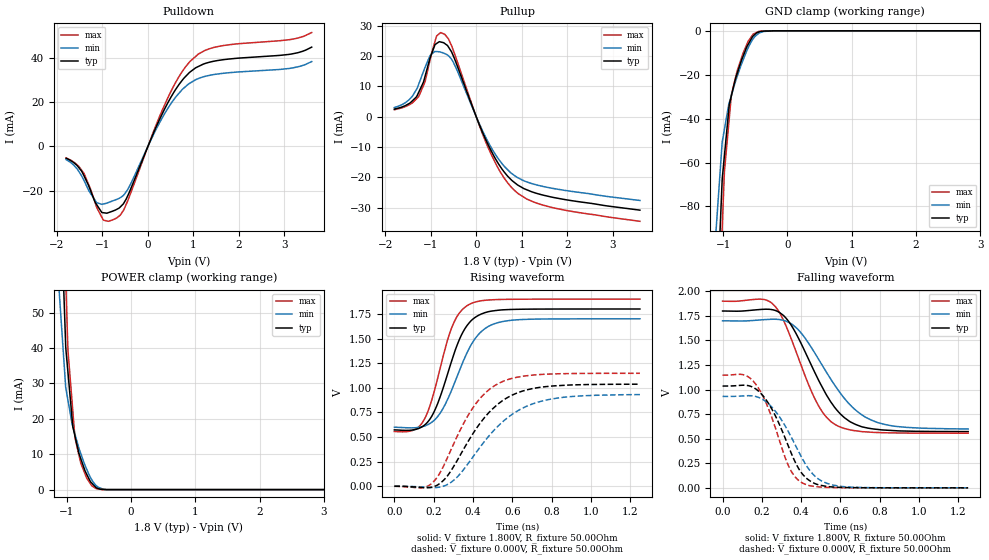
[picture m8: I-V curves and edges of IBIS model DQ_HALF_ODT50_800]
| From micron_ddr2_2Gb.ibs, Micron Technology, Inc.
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|   MODEL DQ_HALF_ODT50_800 (Half-Strength IO Driver with 50 Ohm ODT Submodel)
[Model]   DQ_HALF_ODT50_800
Model_type   I/O
Vinl = 700.000mV
Vinh = 1.100V
Vmeas = 900.000mV
Vref = 900.000mV
Cref = 0.0pF
Rref = 25.000Ohm
|   typ   min   max
C_comp   3.165pF   2.9393pF   3.338pF
| Note: C_comp increases when the ODT circuit is enabled.
[Model Spec]
| Measurement voltage corners
Vmeas   0.900V   0.850V   0.950V
| Input threshold voltage corners
Vinl   0.700V   0.650V   0.750V
Vinh   1.100V   1.050V   1.150V
| Timing spec test load voltage corners
Vref   0.900V   0.850V   0.950V
[Receiver Thresholds]
Vth   =  0.900V
Vth_min  =  0.882V
Vth_max  =  0.918V
Vinh_ac  =  0.200V
Vinh_dc  =  0.125V
Vinl_ac  = -0.200V
Vinl_dc  = -0.125V
Tslew_ac =  5.000ns |Not specified, so set to high value
Threshold_sensitivity = 0.50
Reference_supply Pullup_ref
[Voltage Range]   1.800V   1.700V   1.900V
[Pullup Reference]   1.800V   1.700V   1.900V
| Junction Temperature (Ambient temp is 25C typ, 85C min, 0C max)
[Temperature Range]   40.0   100.0   0.0
[Add Submodel]
| Submodel Name   Mode
50ohm_ODT_800   Non-Driving
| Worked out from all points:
|   slope of the pulldown table from 0 to 0.27 V, typ, clamps not added: 21.1 ohm
|   slope of the pullup table from 0 to 0.27 V, typ, clamps not added: 28.4 ohm
|   GND clamp passes 1 mA (typ) near -0.48 V on its own axis
|   POWER clamp passes 1 mA (typ) near -0.57 V on its own axis
|   falling waveform, V_fixture 1.800V, R_fixture 50.00Ohm: 20-80 % time 193ps typ, 227ps min, 165ps max; typ from 1.8 V to 0.573 V
|   rising waveform, V_fixture 1.800V, R_fixture 50.00Ohm: 20-80 % time 130ps typ, 149ps min, 114ps max; typ from 0.573 V to 1.8 V
|   rising waveform, V_fixture 0.000V, R_fixture 50.00Ohm: 20-80 % time 221ps typ, 251ps min, 192ps max; typ from 0 V to 1.04 V
|   falling waveform, V_fixture 0.000V, R_fixture 50.00Ohm: 20-80 % time 141ps typ, 159ps min, 125ps max; typ from 1.04 V to 0 V
[Pulldown]
|   Voltage   I(typ)   I(min)   I(max)
-1.8V     -5.365mA   -6.001mA   -5.258mA
-1.555V   -8.742mA   -10.27mA   -8.415mA
-1.41V    -13.18mA   -15.31mA   -12.13mA
-1.13V    -26.28mA   -25.42mA   -27.41mA
-980mV    -30.01mA   -26.05mA   -33.37mA
-690mV    -28.51mA   -23.99mA   -32.42mA
-440mV    -22.13mA   -19.32mA   -24.39mA
450mV     20.18mA    17.56mA    22.5mA
920mV     33.5mA     28.53mA    38.29mA
1.49V     38.63mA    32.57mA    44.89mA
3.14V     41.67mA    35.29mA    48.29mA
3.6V      44.83mA    38.29mA    51.41mA
[GND Clamp]
|   Voltage   I(typ)   I(min)   I(max)
-1.8V     -803.9mA   -711.7mA   -858.5mA
-1.12V    -141.5mA   -94.99mA   -168.1mA
-1.02V    -71.23mA   -52.78mA   -93.49mA
-1.015V   -67.72mA   -50.76mA   -89.76mA
-1.01V    -66.04mA   -49.91mA   -86.03mA
-980mV    -56.79mA   -44.83mA   -64.11mA
-905mV    -33.64mA   -32.75mA   -39.89mA
-870mV    -29.34mA   -29.24mA   -28.84mA
-690mV    -11.56mA   -13.3mA    -10.14mA
-530mV    -2.254mA   -3.479mA   -1.45mA
-270mV    -68.69uA   -99.47uA   -52.49uA
3.6V      0A         0A         0A
[Pullup]
|   Voltage   I(typ)   I(min)   I(max)
-1.8V     2.5mA      3.012mA    2.305mA
-1.47V    4.382mA    5.652mA    3.957mA
-1.265V   8.025mA    10.67mA    6.619mA
-1.125V   13.3mA     16.28mA    11.5mA
-1.015V   19.34mA    20.16mA    18.71mA
-870mV    24.15mA    21.47mA    26.63mA
-690mV    24.13mA    20.81mA    27.16mA
-510mV    20.3mA     18.16mA    22.16mA
310mV     -10.68mA   -9.657mA   -11.79mA
825mV     -21.51mA   -19.21mA   -24.08mA
1.635V    -26.44mA   -23.51mA   -29.82mA
3.6V      -30.82mA   -27.63mA   -34.5mA
[POWER Clamp]
|   Voltage   I(typ)   I(min)   I(max)
-1.8V     610.1mA    529.4mA    658.9mA
-1.12V    95.63mA    56.93mA    119.5mA
-1.02V    42.94mA    30.14mA    61.94mA
-1.01V    39.18mA    28.33mA    56.18mA
-980mV    33.08mA    25.22mA    39.3mA
-905mV    17.83mA    17.79mA    22.28mA
-870mV    15.02mA    15.56mA    14.53mA
-780mV    8.671mA    10.14mA    7.441mA
-690mV    4.387mA    5.798mA    3.297mA
-535mV    469.1uA    1.016mA    221.8uA
-395mV    0A         NA         NA
3.6V      0A         0A         0A
[Ramp]
R_load = 50.00Ohm
|   typ   min   max
dV/dt_r   621.550mV/220.562ps 558.378mV/251.454ps 688.035mV/191.984ps
dV/dt_f   736.141mV/192.767ps 660.132mV/226.805ps 806.151mV/164.678ps
[Falling Waveform]
V_fixture = 1.800V
V_fixture_min = 1.700V
V_fixture_max = 1.900V
R_fixture = 50.00Ohm
|   Time   V(typ)   V(min)   V(max)
0s        1.8V       1.7V       1.9V
200ps     1.816V     1.71V      1.919V
270ps     1.804V     1.716V     1.841V
350ps     1.653V     1.669V     1.514V
480ps     1.131V     1.338V     866.3mV
530ps     941.2mV    1.172V     716.2mV
580ps     795.8mV    1.019V     636.6mV
670ps     652.1mV    804.1mV    582.8mV
790ps     594.4mV    664mV      563.2mV
1.25ns    572.7mV    599.7mV    556.2mV
[Rising Waveform]
V_fixture = 1.800V
V_fixture_min = 1.700V
V_fixture_max = 1.900V
R_fixture = 50.00Ohm
|   Time   V(typ)   V(min)   V(max)
0s        572.7mV    599.7mV    556.2mV
120ps     584mV      596.8mV    596.7mV
180ps     678.4mV    635.9mV    810.6mV
230ps     890.7mV    732.7mV    1.172V
290ps     1.261V     968mV      1.6V
340ps     1.53V      1.218V     1.78V
380ps     1.657V     1.396V     1.845V
460ps     1.762V     1.599V     1.887V
560ps     1.792V     1.676V     1.897V
1.25ns    1.8V       1.7V       1.9V
[Rising Waveform]
V_fixture = 0.000V
V_fixture_min = 0.000V
V_fixture_max = 0.000V
R_fixture = 50.00Ohm
|   Time   V(typ)   V(min)   V(max)
0s        281.2uV    56.72uV    140.6uV
190ps     -9.792mV   -12.72mV   28.19mV
230ps     26.57mV    -8.978mV   128.9mV
290ps     162.3mV    42.18mV    377.7mV
400ps     534.3mV    298.2mV    796.7mV
470ps     723.4mV    483.2mV    960.3mV
550ps     868.6mV    651.9mV    1.063V
660ps     970.6mV    800.1mV    1.119V
790ps     1.015V     882.5mV    1.139V
1.25ns    1.036V     930.7mV    1.147V
[Falling Waveform]
V_fixture = 0.000V
V_fixture_min = 0.000V
V_fixture_max = 0.000V
R_fixture = 50.00Ohm
|   Time   V(typ)   V(min)   V(max)
0s        1.036V     930.7mV    1.147V
110ps     1.045V     936.4mV    1.149V
170ps     1.005V     929.3mV    1.052V
210ps     926.3mV    892.6mV    914.7mV
250ps     804.4mV    823mV      720.1mV
340ps     399.6mV    552.9mV    206mV
410ps     132mV      282.8mV    46.03mV
490ps     30.25mV    87.24mV    9.574mV
590ps     5.777mV    18.52mV    2.33mV
1.25ns    281.2uV    56.72uV    140.6uV
